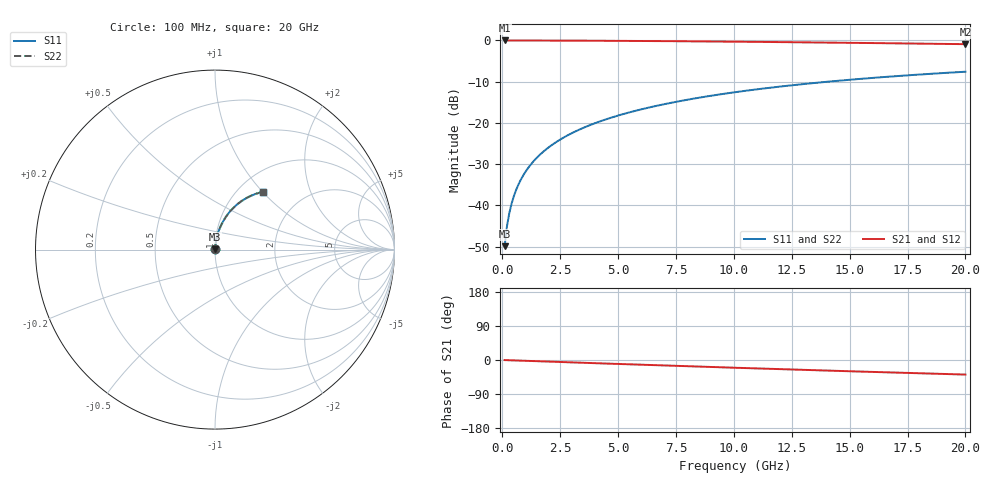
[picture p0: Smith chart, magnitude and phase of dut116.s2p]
! Touchstone file exported from HFSS 2026.1.0
!  File:  C:/ffzhzh/LocalFiles/Ansys_Project_Files/temp_train_TMRDL_116_1782982538_6248.aedt
!  Generated:  04:56:58 PM Jul  2, 2026
!  Design:  TMRDL
!  Project:  temp_train_TMRDL_116_1782982538_6248
! Variables:
!  h_bsmrdl = 2um
!  h_ox = 20um
!  h_rdl = 5um
!  h_sub = 80um
!  h_tmrdl = 5.96um
!  h_tsv = 80um
!  h_via = 3um
!  l_bsmrdl = 300um
!  l_sub = 907.2um
!  l_tmrdl = 507.2um
!  m_sub = 200um
!  pitch = 58.98um
!  r_tsv = 6um
!  s_tmrdl = 10um
!  w_bsmrdl = 18um
!  w_sub = 500um
!  w_tmrdl = 17.56um
!  x_tsv_center1 = 515.98um
!  x_tsv_center2 = 833.98um
!  x_tsv_center3 = 1358.74um
!  x_tsv_center4 = 1676.74um
!  x_tsv_center5 = 2201.5um
!  x_tsv_center6 = 2519.5um
# GHz S MA R 50.000000
! Terminal data exported
! Port[1] = TM_RDL1_1_T1
! Port[2] = TM_RDL1_1_T2
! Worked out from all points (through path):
!   200 points, 100 MHz to 20 GHz, reference 50 ohm
!   highest |S21| = -0.02 dB at 100 MHz (marker M1); lowest = -0.9 dB at 20 GHz (marker M2)
!   group delay of S21, straight-line fit = 5.34 ps
!   lowest |S11| = -49.9 dB at 100 MHz (marker M3), VSWR 1.01, Z = 50.2 + j0.264 ohm
!   |S11| at or under -10 dB: start of sweep to 14.08 GHz
!   |S22| runs from -49.9 to -7.6 dB; largest |S21 - S12| = 3.8e-15
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0.1  0.003205 55.2  0.9982 -0.2  0.9982 -0.2  0.003205 55.2
! Gamma 0 0 0 0
! Port Impedance 50 0 50 0
0.2  0.005553 69.6  0.9981 -0.4  0.9981 -0.4  0.005553 69.6
0.3  0.008003 75.2  0.998 -0.6  0.998 -0.6  0.008003 75.2
0.4  0.01048 78.1  0.9979 -0.9  0.9979 -0.9  0.01048 78.1
0.5  0.01297 79.8  0.9979 -1.1  0.9979 -1.1  0.01297 79.8
0.7  0.01798 81.7  0.9977 -1.5  0.9977 -1.5  0.01798 81.7
0.8  0.02049 82.2  0.9976 -1.7  0.9976 -1.7  0.02049 82.2
1  0.02552 82.8  0.9974 -2.1  0.9974 -2.1  0.02552 82.8
1.2  0.03054 83.0  0.9972 -2.6  0.9972 -2.6  0.03054 83.0
1.4  0.03555 83.1  0.9969 -3.0  0.9969 -3.0  0.03555 83.1
1.7  0.04304 82.9  0.9964 -3.6  0.9964 -3.6  0.04304 82.9
2  0.05049 82.5  0.9959 -4.2  0.9959 -4.2  0.05049 82.5
2.7  0.06772 81.5  0.9944 -5.7  0.9944 -5.7  0.06772 81.5
3.5  0.08712 80.1  0.9923 -7.4  0.9923 -7.4  0.08712 80.1
4.2  0.1039 78.8  0.9902 -8.8  0.9902 -8.8  0.1039 78.8
5  0.1227 77.3  0.9876 -10.4  0.9876 -10.4  0.1227 77.3
6.8  0.1642 73.9  0.9807 -14.0  0.9807 -14.0  0.1642 74.0
8.3  0.1978 71.1  0.9739 -17.0  0.9739 -17.0  0.1978 71.1
10.1  0.2366 67.8  0.9647 -20.5  0.9647 -20.5  0.2366 67.8
13.4  0.3032 61.8  0.9452 -26.8  0.9452 -26.8  0.3032 61.8
16.7  0.3635 55.9  0.9233 -32.7  0.9233 -32.7  0.3635 56.0
20  0.4171 50.4  0.9001 -38.4  0.9001 -38.4  0.4171 50.4
